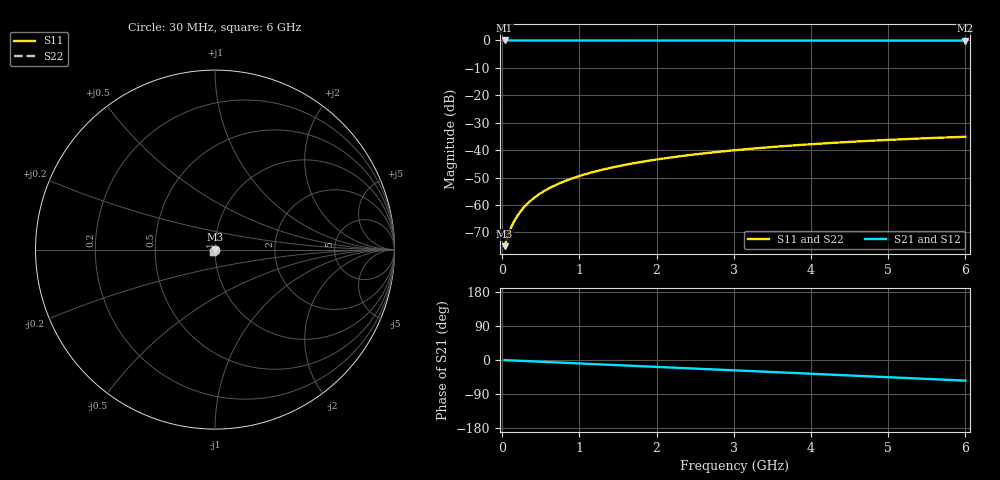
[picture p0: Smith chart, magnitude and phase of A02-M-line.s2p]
! yapnr Order 0 O0-M: O0-M A02 M dL4.5 (line, family M)
! stackup OSHPARK-4L-EM528, nominal parameters; geometry of the OSHPARK-4L-FR408HR design
! model: 2D quasi-static RLGC (Djordjevic-Sarkar, Huray roughness, Wheeler loss); generated by python -m yapnr.rf.coupons expected --stackup OSHPARK-4L-FR408HR --upload M
! reference planes 10 mm from each end; 50 ohm (from the M line's Zc)
# GHz S DB R 50
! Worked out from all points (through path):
!   200 points, 30 MHz to 6 GHz, reference 50 ohm
!   highest |S21| = 0.00 dB at 30 MHz (marker M1); lowest = -0.1 dB at 6 GHz (marker M2)
!   group delay of S21, straight-line fit = 25.2 ps
!   lowest |S11| = -75.0 dB at 30 MHz (marker M3), VSWR 1.00, Z = 50 + j0.00203 ohm
!   |S11| at or under -10 dB: start of sweep to end of sweep
!   |S22| runs from -75.0 to -35.1 dB; largest |S21 - S12| = 0
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0.03  -75.04 6.6  -0.00 -0.3  -0.00 -0.3  -75.04 6.6
0.06  -72.11 -12.2  -0.00 -0.6  -0.00 -0.6  -72.11 -12.2
0.09  -69.82 -25.6  -0.00 -0.8  -0.00 -0.8  -69.82 -25.6
0.12  -67.85 -35.1  -0.00 -1.1  -0.00 -1.1  -67.85 -35.1
0.15  -66.16 -42.2  -0.00 -1.4  -0.00 -1.4  -66.16 -42.2
0.18  -64.68 -47.6  -0.00 -1.7  -0.00 -1.7  -64.68 -47.6
0.24  -62.23 -55.3  -0.01 -2.2  -0.01 -2.2  -62.23 -55.3
0.3  -60.26 -60.6  -0.01 -2.8  -0.01 -2.8  -60.26 -60.6
0.36  -58.62 -64.6  -0.01 -3.3  -0.01 -3.3  -58.62 -64.6
0.42  -57.23 -67.7  -0.01 -3.9  -0.01 -3.9  -57.23 -67.7
0.51  -55.48 -71.4  -0.01 -4.7  -0.01 -4.7  -55.48 -71.4
0.66  -53.15 -76.0  -0.01 -6.0  -0.01 -6.0  -53.15 -76.0
0.84  -50.99 -80.2  -0.01 -7.7  -0.01 -7.7  -50.99 -80.2
1.05  -49.00 -84.1  -0.01 -9.6  -0.01 -9.6  -49.00 -84.1
1.26  -47.40 -87.5  -0.02 -11.5  -0.02 -11.5  -47.40 -87.5
1.5  -45.88 -90.8  -0.02 -13.7  -0.02 -13.7  -45.88 -90.8
2.04  -43.25 -97.6  -0.02 -18.6  -0.02 -18.6  -43.25 -97.6
2.52  -41.48 -103.0  -0.03 -22.9  -0.03 -22.9  -41.48 -103.0
3.03  -39.99 -108.4  -0.03 -27.5  -0.03 -27.5  -39.99 -108.4
4.02  -37.81 -118.5  -0.04 -36.5  -0.04 -36.5  -37.81 -118.5
5.01  -36.26 -128.3  -0.05 -45.5  -0.05 -45.5  -36.26 -128.3
6  -35.13 -137.8  -0.06 -54.4  -0.06 -54.4  -35.13 -137.8
